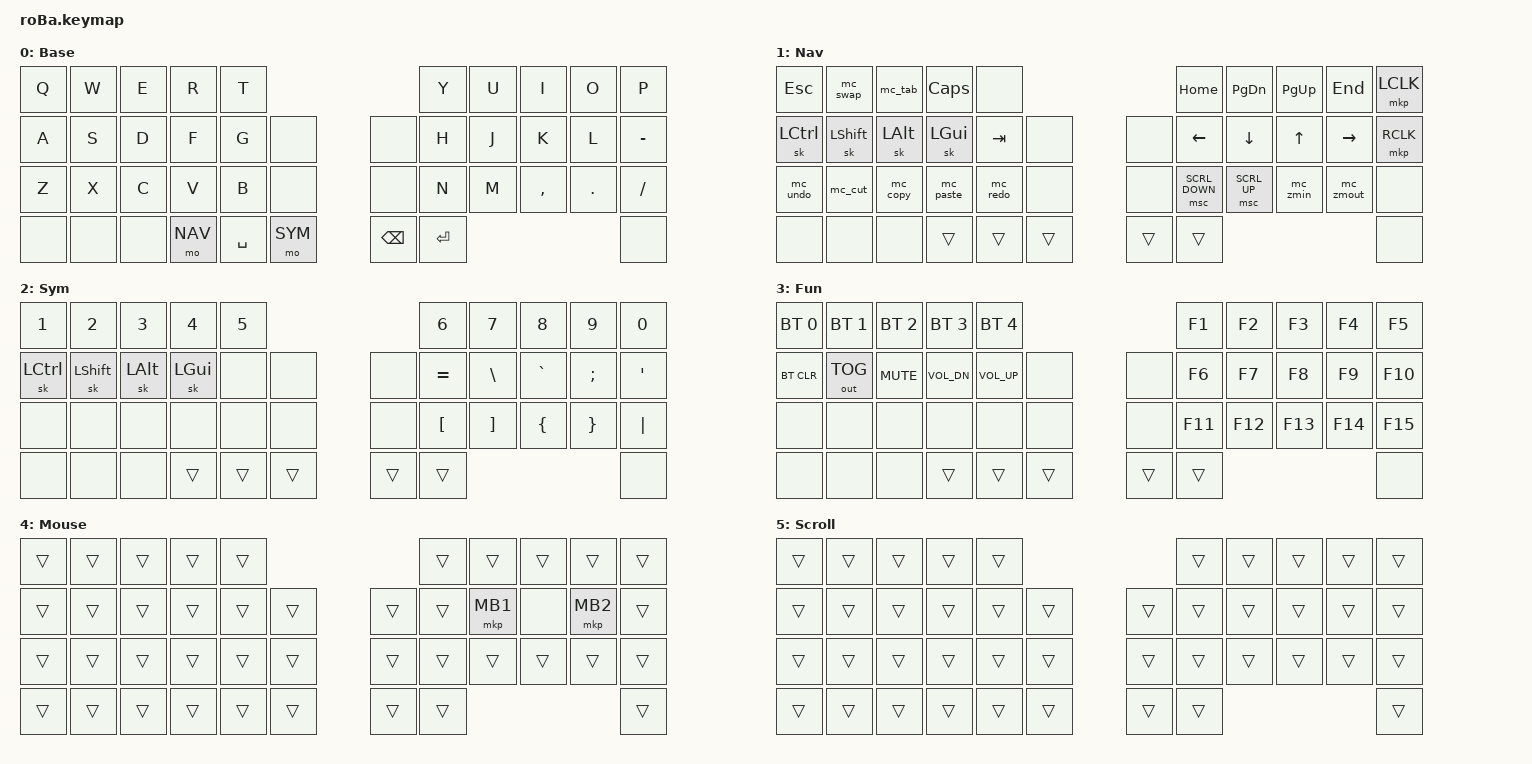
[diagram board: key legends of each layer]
/*
 * roBa OSM keymap
 * hold-tap 完全排除、Callum式 One-Shot ベース
 * Charybdis / Corne と同じ設計
 */

#include <behaviors.dtsi>
#include <dt-bindings/zmk/bt.h>
#include <dt-bindings/zmk/keys.h>
#include <dt-bindings/zmk/pointing.h>
#include <dt-bindings/zmk/outputs.h>

#define BASE   0
#define NAV    1
#define SYM    2
#define FUN    3
#define MOUSE  4
#define SCROLL 5

// --- トラックボール設定 ---
&trackball {
    automouse-layer = <MOUSE>;
    scroll-layers = <SCROLL>;
};

// --- One-Shot Modifier 設定 ---
&sk {
    release-after-ms = <2000>;
};

// --- スクロール速度 ---
&msc {
    time-to-max-speed-ms = <300>;
    acceleration-exponent = <1>;
};

/ {
    // --- Macros（Charybdis から移植） ---
    macros {
        // Swapper（Cmd+Tab: キーを離すまでCmdを保持）
        mc_swap: mc_swap {
            compatible = "zmk,behavior-macro";
            #binding-cells = <0>;
            wait-ms = <30>;
            tap-ms = <30>;
            bindings = <&macro_press &kp LGUI>, <&macro_tap &kp TAB>, <&macro_pause_for_release>, <&macro_release &kp LGUI>;
        };
        // Tabber（Ctrl+Tab: キーを離すまでCtrlを保持）
        mc_tab: mc_tab {
            compatible = "zmk,behavior-macro";
            #binding-cells = <0>;
            wait-ms = <30>;
            tap-ms = <30>;
            bindings = <&macro_press &kp LCTRL>, <&macro_tap &kp TAB>, <&macro_pause_for_release>, <&macro_release &kp LCTRL>;
        };
        // Undo (Cmd+Z)
        mc_undo: mc_undo {
            compatible = "zmk,behavior-macro";
            #binding-cells = <0>;
            wait-ms = <30>;
            tap-ms = <30>;
            bindings = <&macro_press &kp LGUI>, <&macro_tap &kp Z>, <&macro_release &kp LGUI>;
        };
        // Cut (Cmd+X)
        mc_cut: mc_cut {
            compatible = "zmk,behavior-macro";
            #binding-cells = <0>;
            wait-ms = <30>;
            tap-ms = <30>;
            bindings = <&macro_press &kp LGUI>, <&macro_tap &kp X>, <&macro_release &kp LGUI>;
        };
        // Copy (Cmd+C)
        mc_copy: mc_copy {
            compatible = "zmk,behavior-macro";
            #binding-cells = <0>;
            wait-ms = <30>;
            tap-ms = <30>;
            bindings = <&macro_press &kp LGUI>, <&macro_tap &kp C>, <&macro_release &kp LGUI>;
        };
        // Paste (Cmd+V)
        mc_paste: mc_paste {
            compatible = "zmk,behavior-macro";
            #binding-cells = <0>;
            wait-ms = <30>;
            tap-ms = <30>;
            bindings = <&macro_press &kp LGUI>, <&macro_tap &kp V>, <&macro_release &kp LGUI>;
        };
        // Redo (Cmd+Shift+Z)
        mc_redo: mc_redo {
            compatible = "zmk,behavior-macro";
            #binding-cells = <0>;
            wait-ms = <30>;
            tap-ms = <30>;
            bindings = <&macro_press &kp LGUI>, <&macro_press &kp LSHFT>, <&macro_tap &kp Z>, <&macro_release &kp LSHFT>, <&macro_release &kp LGUI>;
        };
        // Zoom In (Cmd+=)
        mc_zmin: mc_zmin {
            compatible = "zmk,behavior-macro";
            #binding-cells = <0>;
            wait-ms = <30>;
            tap-ms = <30>;
            bindings = <&macro_press &kp LGUI>, <&macro_tap &kp EQUAL>, <&macro_release &kp LGUI>;
        };
        // Zoom Out (Cmd+-)
        mc_zmout: mc_zmout {
            compatible = "zmk,behavior-macro";
            #binding-cells = <0>;
            wait-ms = <30>;
            tap-ms = <30>;
            bindings = <&macro_press &kp LGUI>, <&macro_tap &kp MINUS>, <&macro_release &kp LGUI>;
        };
    };

    // --- Combos ---
    // Key positions:
    // Row 0:  0(Q)  1(W)  2(E)  3(R)  4(T)  |  5(Y)  6(U)  7(I)  8(O)  9(P)
    // Row 1: 10(A) 11(S) 12(D) 13(F) 14(G) 15(×) | 16(×) 17(H) 18(J) 19(K) 20(L) 21(')
    // Row 2: 22(Z) 23(X) 24(C) 25(V) 26(B) 27(×) | 28(×) 29(N) 30(M) 31(,) 32(.) 33(/)
    // Row 3: 34(×) 35(×) 36(×) 37(NAV) 38(SPC) 39(SYM) | 40(BSPC) 41(ENT)  42(×)
    combos {
        compatible = "zmk,combos";


        // J + K → Caps Word（2026-11-12 緒方さん指示でコンボ化）
        // 旧: NAV層のキーに置いていた / 旧 D+F の tmux prefix コンボは廃止（「pdf」で誤発火）
        combo_caps_word {
            timeout-ms = <80>;
            require-prior-idle-ms = <150>;
            key-positions = <18 19>;
            bindings = <&caps_word>;
            layers = <BASE>;
        };

        // SPC(38) + BSPC(40) → LNG1 (IME ON)
        combo_lng1 {
            timeout-ms = <50>;
            require-prior-idle-ms = <150>;
            key-positions = <38 40>;
            bindings = <&kp LANGUAGE_1>;
            layers = <BASE>;
        };

        // BSPC(40) + ENT(41) → LNG2 (IME OFF)
        combo_lng2 {
            timeout-ms = <50>;
            require-prior-idle-ms = <150>;
            key-positions = <40 41>;
            bindings = <&kp LANGUAGE_2>;
            layers = <BASE>;
        };

        // --- ブートローダー / リセット（物理リセットボタンの代替・艦隊共通設計） ---
        // 「上段最外(Q/P) ＋ 下段最内(B/N)」は共通で、**親指だけずらして**切り替える。
        //   親指内側          → &bootloader（焼き用・リセット2回押し相当）
        // ⚠️ 親指の物理配置（2026-11-12 緒方さん確認。キーマップの並び順と内外が逆）:
        //     左手 [NAV][SPC][SYM] │ 中央 │ [BSPC][ENT] 右手
        //           外側 →→→ 内側          内側 ←←← 外側
        //   ＝ **内側(中央寄り)は 左=SYM / 右=BSPC**。NAV は左の一番外側。
        //   親指内側から2番目 → &sys_reset （再起動・1回押し相当）
        // ★各コンボは同一半身のキーのみで構成（片側だけUSB接続して焼く運用のため）。
        // ★layers 未指定＝全レイヤーで有効。3キーなので timeout は緩める。

        // bootloader — 左: Q(0) + B(26) + SYM(39=親指内側＝中央寄り)
        combo_boot_left {
            timeout-ms = <100>;
            require-prior-idle-ms = <250>;
            key-positions = <0 26 39>;
            bindings = <&bootloader>;
        };

        // bootloader — 右: P(9) + N(29) + BSPC(40=親指内側＝中央寄り)
        combo_boot_right {
            timeout-ms = <100>;
            require-prior-idle-ms = <250>;
            key-positions = <9 29 40>;
            bindings = <&bootloader>;
        };

        // sys_reset — 左: Q(0) + B(26) + SPC(38=内側から2番目)
        combo_reset_left {
            timeout-ms = <100>;
            require-prior-idle-ms = <250>;
            key-positions = <0 26 38>;
            bindings = <&sys_reset>;
        };

        // sys_reset — 右: P(9) + N(29) + ENT(41=内側から2番目)
        combo_reset_right {
            timeout-ms = <100>;
            require-prior-idle-ms = <250>;
            key-positions = <9 29 41>;
            bindings = <&sys_reset>;
        };
    };

    // --- Conditional Layer (NAV + SYM = FUN) ---
    conditional_layers {
        compatible = "zmk,conditional-layers";
        tri_layer {
            if-layers = <NAV SYM>;
            then-layer = <FUN>;
        };
    };

    // --- Keymap ---
    keymap {
        compatible = "zmk,keymap";

        // Layer 0: BASE (QWERTY)
        BASE_layer {
            display-name = "Base";
            bindings = <
&kp Q      &kp W      &kp E      &kp R      &kp T                                          &kp Y      &kp U      &kp I      &kp O      &kp P
&kp A      &kp S      &kp D      &kp F      &kp G      &none                  &none         &kp H      &kp J      &kp K      &kp L      &kp MINUS
&kp Z      &kp X      &kp C      &kp V      &kp B      &none                  &none         &kp N      &kp M      &kp COMMA  &kp DOT    &kp FSLH
&none      &none      &none      &mo NAV    &kp SPC    &mo SYM                &kp BSPC      &kp RET                                      &none
            >;
        };

        // Layer 1: NAV（左親指左で有効）- Charybdis と同じ配置
        NAV_layer {
            display-name = "Nav";
            bindings = <
&kp ESC    &mc_swap   &mc_tab    &kp CAPS   &none                                          &kp HOME       &kp PG_DN      &kp PG_UP      &kp END    &mkp LCLK
&sk LCTRL  &sk LSHFT  &sk LALT   &sk LGUI   &kp TAB    &none                  &none        &kp LEFT       &kp DOWN       &kp UP         &kp RIGHT  &mkp RCLK
&mc_undo   &mc_cut    &mc_copy   &mc_paste  &mc_redo   &none                  &none        &msc SCRL_DOWN &msc SCRL_UP   &mc_zmin       &mc_zmout  &none
&none      &none      &none      &trans     &trans     &trans                 &trans       &trans                                                  &none
            >;
        };

        // Layer 2: SYM（左親指右で有効）
        SYM_layer {
            display-name = "Sym";
            bindings = <
&kp N1     &kp N2     &kp N3     &kp N4     &kp N5                                          &kp N6     &kp N7     &kp N8     &kp N9     &kp N0
&sk LCTRL  &sk LSHFT  &sk LALT   &sk LGUI   &none      &none                  &none         &kp EQUAL  &kp BSLH   &kp GRAVE  &kp SEMI   &kp SQT
&none      &none      &none      &none      &none      &none                  &none         &kp LBKT   &kp RBKT   &kp LBRC   &kp RBRC   &kp PIPE
&none      &none      &none      &trans     &trans     &trans                 &trans        &trans                                       &none
            >;
        };

        // Layer 3: FUN（NAV + SYM 同時で自動発動）— **艦隊共通配置**（正本=Atreus・2026-11-15 統一）
        //   左 = 機器設定＋ボリューム / 右 = F1..F15
        //   BT0  BT1    BT2  BT3   BT4  │ F1  F2  F3  F4  F5
        //   CLR  USB⇄BT MUTE VOL-  VOL+ │ F6  F7  F8  F9  F10
        //   ・   ・     ・   ・     ・   │ F11 F12 F13 F14 F15
        //
        //   ★roBa は **roam (RPi5) 専用機**（2026-11-15 緒方さん確認）。
        //     roam は RPi5 のホスト名（Tailnet ノード名でもあるが BT 接続自体は無関係）。
        //     Keyball39 BT が HW 問題で中断したため 2026-04-25 以降 roBa が roam 接続を担当。
        //     → **1番目(BT_SEL 0) = roam**。他機の「1番目=iPad mini」とはここだけ違う。
        //       2〜5番目は未使用（キー位置は艦隊共通のまま空けておく）。
        //   ★ペアリング実体は各キーボードが個別保持するので、キー位置を共通にしたまま
        //     機体ごとに別の機器を割り当てられる（ファーム側の差分は不要）。
        //   参考: 30_Areas/プライベート_キーボードカスタマイズ設定/Keyball39_BT/ai.md
        FUN_layer {
            display-name = "Fun";
            bindings = <
&bt BT_SEL 0  &bt BT_SEL 1  &bt BT_SEL 2  &bt BT_SEL 3  &bt BT_SEL 4                               &kp F1   &kp F2   &kp F3   &kp F4   &kp F5
&bt BT_CLR    &out OUT_TOG  &kp K_MUTE    &kp K_VOL_DN  &kp K_VOL_UP  &none            &none        &kp F6   &kp F7   &kp F8   &kp F9   &kp F10
&none          &none        &none         &none         &none         &none            &none        &kp F11  &kp F12  &kp F13  &kp F14  &kp F15
&none      &none      &none      &trans     &trans     &trans                 &trans        &trans                                                &none
            >;
        };

        // Layer 4: MOUSE（トラックボール動かすと自動発動）
        MOUSE_layer {
            display-name = "Mouse";
            bindings = <
&trans     &trans     &trans     &trans     &trans                                            &trans     &trans     &trans     &trans     &trans
&trans     &trans     &trans     &trans     &trans     &trans                 &trans          &trans     &mkp MB1   &none      &mkp MB2   &trans
&trans     &trans     &trans     &trans     &trans     &trans                 &trans          &trans     &trans     &trans     &trans     &trans
&trans     &trans     &trans     &trans     &trans     &trans                 &trans          &trans                                      &trans
            >;
        };

        // Layer 5: SCROLL（NAV+SCRLで切替、トラックボール→スクロール）
        SCROLL_layer {
            display-name = "Scroll";
            bindings = <
&trans     &trans     &trans     &trans     &trans                                            &trans     &trans     &trans     &trans     &trans
&trans     &trans     &trans     &trans     &trans     &trans                 &trans          &trans     &trans     &trans     &trans     &trans
&trans     &trans     &trans     &trans     &trans     &trans                 &trans          &trans     &trans     &trans     &trans     &trans
&trans     &trans     &trans     &trans     &trans     &trans                 &trans          &trans                                      &trans
            >;
        };
    };
};
